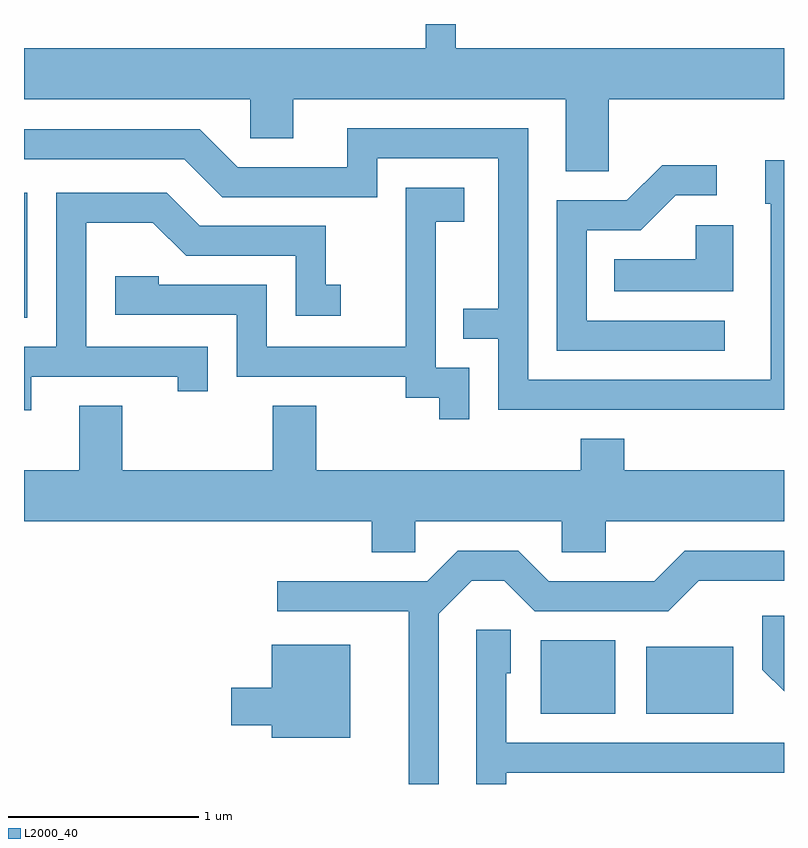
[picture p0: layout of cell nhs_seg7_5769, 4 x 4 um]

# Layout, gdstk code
import gdstk
lib = gdstk.Library(unit=1e-6, precision=1e-09)
def R(c, l, rs):  # rectangles x0, y0, x1, y1
    for r in rs: c.add(gdstk.rectangle(r[:2], r[2:], *l))
def P(c, l, *ps):  # polygons
    for p in ps: c.add(gdstk.Polygon(p, *l))
L2000_40 = (2000, 40)

nhs_seg7_5769 = lib.new_cell('nhs_seg7_5769')
R(nhs_seg7_5769, L2000_40, [(364.331,1726.621,364.724,1727.009), (364.886,1726.621,365.344,1726.974), (361.611,1728.706,361.629,1729.364)])
P(nhs_seg7_5769, L2000_40, [(364.689,1729.856),(365.611,1729.856),(365.611,1730.124),(363.884,1730.124),(363.884,1730.252),(363.726,1730.252),(363.726,1730.124),(361.611,1730.124),(361.611,1729.856),(362.801,1729.856),(362.801,1729.651),(363.029,1729.651),(363.029,1729.856),(364.461,1729.856),(364.461,1729.476),(364.689,1729.476)],
  [(365.611,1729.534),(365.511,1729.534),(365.511,1729.306),(365.541,1729.306),(365.541,1728.379),(364.264,1728.379),(364.264,1729.704),(363.311,1729.704),(363.311,1729.499),(362.737,1729.499),(362.537,1729.699),(361.611,1729.699),(361.611,1729.541),(362.454,1729.541),(362.654,1729.341),(363.469,1729.341),(363.469,1729.546),(364.106,1729.546),(364.106,1728.754),(363.923,1728.754),(363.923,1728.596),(364.106,1728.596),(364.106,1728.221),(365.611,1728.221)],
  [(365.298,1728.689),(364.574,1728.689),(364.574,1729.166),(364.857,1729.166),(365.042,1729.351),(365.258,1729.351),(365.258,1729.509),(364.969,1729.509),(364.784,1729.324),(364.416,1729.324),(364.416,1728.531),(365.298,1728.531)],
  [(363.954,1728.444),(363.779,1728.444),(363.779,1729.211),(363.929,1729.211),(363.929,1729.389),(363.621,1729.389),(363.621,1728.554),(362.889,1728.554),(362.889,1728.879),(362.319,1728.879),(362.319,1728.924),(362.091,1728.924),(362.091,1728.721),(362.731,1728.721),(362.731,1728.396),(363.621,1728.396),(363.621,1728.286),(363.796,1728.286),(363.796,1728.173),(363.954,1728.173)],
  [(361.649,1728.396),(362.421,1728.396),(362.421,1728.318),(362.579,1728.318),(362.579,1728.554),(361.939,1728.554),(361.939,1729.206),(362.289,1729.206),(362.464,1729.031),(363.041,1729.031),(363.041,1728.716),(363.278,1728.716),(363.278,1728.879),(363.199,1728.879),(363.199,1729.189),(362.537,1729.189),(362.362,1729.364),(361.781,1729.364),(361.781,1728.554),(361.611,1728.554),(361.611,1728.218),(361.649,1728.218)],
  [(365.344,1729.194),(365.146,1729.194),(365.146,1729.014),(364.718,1729.014),(364.718,1728.846),(365.344,1728.846)],
  [(363.669,1727.636),(364.441,1727.636),(364.441,1727.471),(364.674,1727.471),(364.674,1727.636),(365.611,1727.636),(365.611,1727.904),(364.769,1727.904),(364.769,1728.069),(364.541,1728.069),(364.541,1727.904),(363.149,1727.904),(363.149,1728.244),(362.921,1728.244),(362.921,1727.904),(362.129,1727.904),(362.129,1728.244),(361.901,1728.244),(361.901,1727.904),(361.611,1727.904),(361.611,1727.636),(363.441,1727.636),(363.441,1727.471),(363.669,1727.471)],
  [(363.794,1727.149),(363.967,1727.321),(364.139,1727.321),(364.299,1727.161),(365.002,1727.161),(365.162,1727.321),(365.611,1727.321),(365.611,1727.479),(365.089,1727.479),(364.929,1727.319),(364.372,1727.319),(364.212,1727.479),(363.894,1727.479),(363.734,1727.319),(362.943,1727.319),(362.943,1727.161),(363.636,1727.161),(363.636,1726.252),(363.794,1726.252)],
  [(365.611,1727.138),(365.496,1727.138),(365.496,1726.854),(365.611,1726.739)],
  [(364.149,1726.311),(365.611,1726.311),(365.611,1726.469),(364.149,1726.469),(364.149,1726.836),(364.174,1726.836),(364.174,1727.064),(363.991,1727.064),(363.991,1726.252),(364.149,1726.252)],
  [(363.329,1726.984),(362.916,1726.984),(362.916,1726.759),(362.701,1726.759),(362.701,1726.561),(362.916,1726.561),(362.916,1726.496),(363.329,1726.496)])

lib.write_gds('nhs_seg7_5769.gds')
